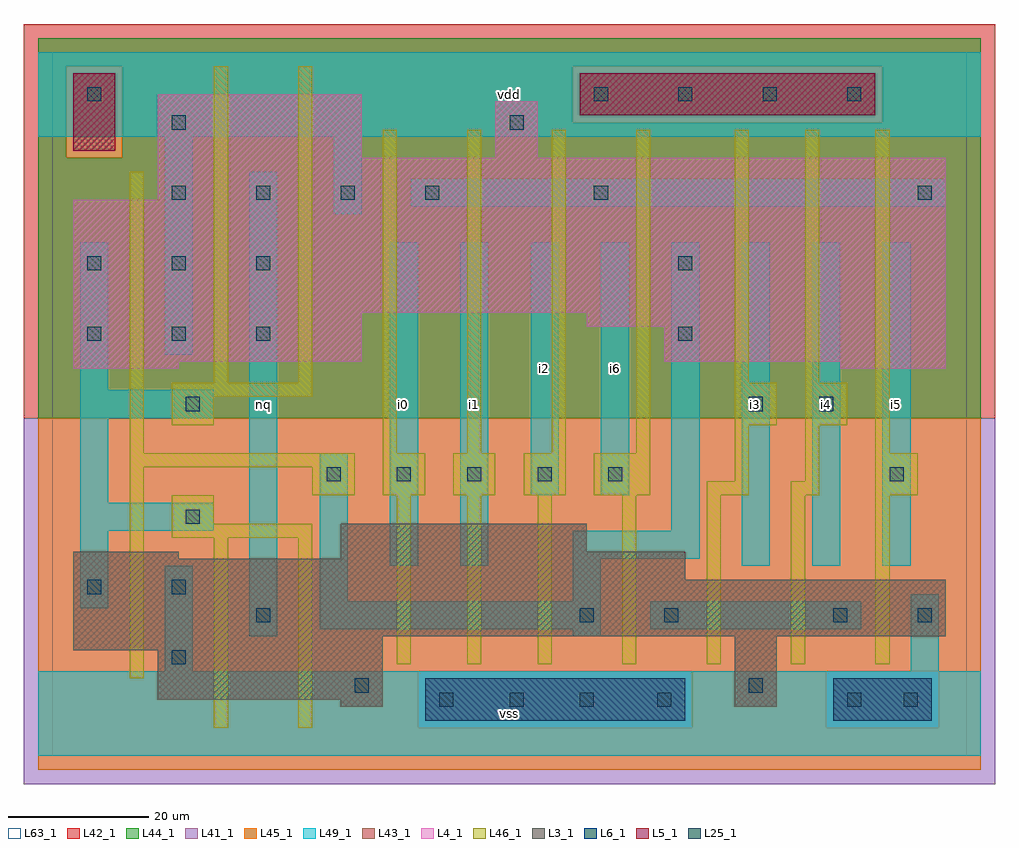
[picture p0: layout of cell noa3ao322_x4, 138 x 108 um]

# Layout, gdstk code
import gdstk
lib = gdstk.Library(unit=1e-6, precision=1e-09)
def R(c, l, rs):  # rectangles x0, y0, x1, y1
    for r in rs: c.add(gdstk.rectangle(r[:2], r[2:], *l))
def A(c, l, x, y, w, h, nx, ny, dx, dy):  # array of equal rectangles
    R(c, l, [(x+i*dx, y+j*dy, x+i*dx+w, y+j*dy+h) for i in range(nx) for j in range(ny)])
L3_1 = (3, 1)
L4_1 = (4, 1)
L5_1 = (5, 1)
L6_1 = (6, 1)
L25_1 = (25, 1)
L41_1 = (41, 1)
L42_1 = (42, 1)
L43_1 = (43, 1)
L44_1 = (44, 1)
L45_1 = (45, 1)
L46_1 = (46, 1)
L49_1 = (49, 1)
L63_1 = (63, 1)

noa3ao322_x4 = lib.new_cell('noa3ao322_x4')
R(noa3ao322_x4, L3_1, [(41,7,47,8), (97,7,103,17), (15,8,47,15), (3,15,47,17), (3,17,127,25), (3,25,90,28), (3,28,18,29), (41,28,90,29), (41,29,76,33)])
R(noa3ao322_x4, L4_1, [(3,55,18,56), (112,55,127,56), (3,56,44,63), (87,56,127,61), (76,61,127,63), (3,63,127,79), (15,79,127,85), (15,85,44,94), (63,85,69,93)])
R(noa3ao322_x4, L5_1, [(3,86,9,97), (75,91,117,97)])
R(noa3ao322_x4, L6_1, [(53,5,90,11), (53,5,90,11), (111,5,125,11), (111,5,125,11)])
A(noa3ao322_x4, L25_1, 55, 7, 2, 2, 3, 1, 10, 0)
A(noa3ao322_x4, L25_1, 39, 39, 2, 2, 5, 1, 10, 0)
A(noa3ao322_x4, L25_1, 5, 59, 2, 2, 3, 2, 12, 10)
A(noa3ao322_x4, L25_1, 17, 79, 2, 2, 4, 1, 12, 0)
A(noa3ao322_x4, L25_1, 77, 93, 2, 2, 4, 1, 12, 0)
R(noa3ao322_x4, L25_1, [(86,7,88,9), (113,7,115,9), (121,7,123,9), (43,9,45,11), (99,9,101,11), (17,13,19,15), (29,19,31,21), (75,19,77,21), (87,19,89,21), (111,19,113,21), (123,19,125,21), (5,23,7,25), (17,23,19,25), (19,33,21,35), (119,39,121,41), (19,49,21,51), (99,49,101,51), (109,49,111,51), (89,59,91,61), (89,69,91,71), (77,79,79,81), (123,79,125,81), (17,89,19,91), (65,89,67,91), (5,93,7,95)])
R(noa3ao322_x4, L41_1, [(-4,-4,134,48)])
R(noa3ao322_x4, L42_1, [(-4,48,134,104)])
R(noa3ao322_x4, L43_1, [(53,5,90,11), (111,5,125,11), (41,7,47,8), (97,7,103,17), (15,8,47,15), (3,15,47,17), (3,17,127,25), (3,25,90,28), (3,28,18,29), (41,28,90,29), (41,29,76,33), (3,55,18,56), (112,55,127,56), (3,56,44,63), (87,56,127,61), (76,61,127,63), (3,63,127,79), (15,79,127,85), (15,85,44,94), (63,85,69,93), (3,86,9,97), (75,91,117,97)])
R(noa3ao322_x4, L44_1, [(52,4,91,12), (110,4,126,12), (-2,48,132,85), (-2,85,2,98), (10,85,132,90), (10,90,74,98), (118,90,132,98), (-2,98,132,102)])
R(noa3ao322_x4, L45_1, [(-2,-2,132,4), (-2,4,52,12), (91,4,110,12), (126,4,132,12), (-2,12,132,48), (2,85,10,98), (74,90,118,98)])
A(noa3ao322_x4, L46_1, 49, 13, 2, 24, 3, 1, 10, 0)
A(noa3ao322_x4, L46_1, 81, 13, 2, 24, 4, 1, 12, 0)
A(noa3ao322_x4, L46_1, 47, 37, 6, 6, 3, 1, 10, 0)
A(noa3ao322_x4, L46_1, 47, 43, 2, 46, 4, 1, 12, 0)
R(noa3ao322_x4, L46_1, [(23,4,25,31), (35,4,37,31), (11,11,13,41), (17,31,37,33), (17,33,23,37), (37,37,43,41), (77,37,85,43), (93,37,99,39), (105,37,109,39), (117,37,123,43), (97,39,99,47), (107,39,109,47), (11,41,43,43), (11,43,13,83), (117,43,119,89), (17,47,23,51), (97,47,103,53), (107,47,113,53), (17,51,37,53), (23,53,25,98), (35,53,37,98), (97,53,99,89), (107,53,109,89)])
A(noa3ao322_x4, L49_1, 98, 27, 4, 46, 3, 1, 10, 0)
R(noa3ao322_x4, L49_1, [(-2,0,132,12), (16,12,20,27), (122,12,126,23), (28,17,32,83), (74,17,78,18), (38,18,78,22), (85,18,115,22), (4,21,8,32), (38,22,42,43), (74,22,78,28), (48,27,52,73), (58,27,62,73), (74,28,92,32), (4,32,23,36), (88,32,92,73), (4,36,8,48), (68,37,72,73), (78,37,82,73), (4,48,23,52), (4,52,8,73), (16,57,20,88), (40,77,44,88), (51,78,127,82), (-2,88,132,100)])
R(noa3ao322_x4, L63_1, [(0,0,130,100)])
noa3ao322_x4.add(gdstk.Label('nq', (30,50), layer=49, texttype=1))
noa3ao322_x4.add(gdstk.Label('vss', (65,6), layer=49, texttype=1))
noa3ao322_x4.add(gdstk.Label('i0', (50,50), layer=49, texttype=1))
noa3ao322_x4.add(gdstk.Label('i2', (70,55), layer=49, texttype=1))
noa3ao322_x4.add(gdstk.Label('i1', (60,50), layer=49, texttype=1))
noa3ao322_x4.add(gdstk.Label('vdd', (65,94), layer=49, texttype=1))
noa3ao322_x4.add(gdstk.Label('i6', (80,55), layer=49, texttype=1))
noa3ao322_x4.add(gdstk.Label('i3', (100,50), layer=49, texttype=1))
noa3ao322_x4.add(gdstk.Label('i5', (120,50), layer=49, texttype=1))
noa3ao322_x4.add(gdstk.Label('i4', (110,50), layer=49, texttype=1))

lib.write_gds('noa3ao322_x4.gds')
